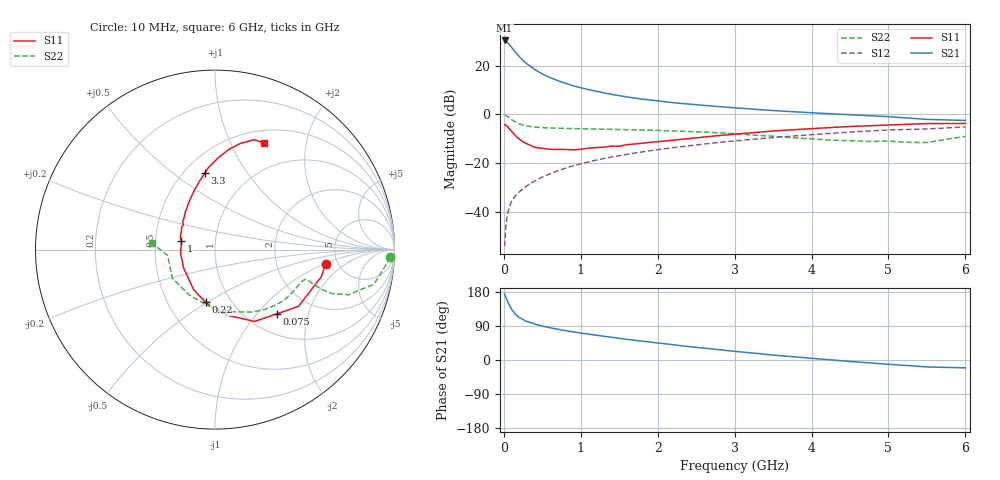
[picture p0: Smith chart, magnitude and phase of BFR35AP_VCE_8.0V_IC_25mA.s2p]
! Infineon Technologies  Discrete & RF Semiconductors
! BFR35AP
! VCE =  8.0 V,  IC =  25 mA
! Common Emitter S-Parameters:  Nov 2015
# GHz  S  MA  R  50
!  f  S11  S21  S12  S22
! GHz  MAG  ANG  MAG  ANG  MAG  ANG  MAG  ANG
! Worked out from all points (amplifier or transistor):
!   210 points, 10 MHz to 6 GHz, reference 50 ohm
!   highest |S21| = 30.3 dB at 10 MHz (marker M1)
!   |S21| within 3 dB of that: start of sweep to 105.8 MHz
!   unconditionally stable (mu >= 1): 388.6 MHz to 2.612 GHz
!   at 185 MHz: K = 0.75, MSG = 28.2 dB, |S12| = -32.2 dB
!   at 1.52 GHz: K = 1.09, MAG = 10.3 dB, |S12| = -16.7 dB
!   at 6 GHz: K = 0.90, MSG = 1.3 dB, |S12| = -5.1 dB
!   S11 on the Smith chart (normalised r, x): 10 MHz: 4.00, -1.01; 75 MHz: 1.34, -1.28; 220 MHz: 0.76, -0.49; 1 GHz: 0.68, +0.07; 3.3 GHz: 0.63, +0.66; 6 GHz: 0.65, +1.35
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0.01  0.6206 -7.2  32.8 173.8  0.002 83.7  0.9751 -2.5
0.02  0.6118 -14.2  32.28 168.1  0.0038 85.0  0.955 -5.3
0.05  0.5629 -34.2  29.89 152.9  0.0096 77.2  0.9061 -12.3
0.075  0.496 -46.3  26.5 144.4  0.013 72.5  0.8444 -15.3
0.1  0.4569 -61.2  23.86 133.7  0.0164 69.7  0.7854 -18.7
0.15  0.3675 -80.9  18.81 120.4  0.0215 66.5  0.6967 -20.6
0.2  0.3131 -95.7  15.27 112.1  0.0258 67.3  0.6405 -20.5
0.22  0.2958 -100.3  14.22 109.9  0.0275 67.5  0.6255 -20.3
0.26  0.2688 -110.1  12.32 105.2  0.031 67.9  0.5982 -19.8
0.3  0.2516 -118.6  10.84 101.4  0.0344 68.7  0.5794 -19.3
0.4  0.2127 -136.5  8.355 95.0  0.043 70.4  0.5524 -18.4
0.5  0.2024 -150.0  6.749 89.3  0.052 71.3  0.5364 -18.2
0.7  0.1922 -170.8  4.927 81.0  0.07 71.8  0.5211 -19.1
1  0.1933 166.1  3.517 71.1  0.0973 70.9  0.5094 -21.9
1.02  0.1954 165.0  3.458 70.6  0.0992 70.8  0.5086 -22.2
1.4  0.2241 146.2  2.575 60.0  0.1341 68.4  0.4963 -27.6
2.02  0.2784 124.4  1.872 44.5  0.1916 62.9  0.4706 -38.0
3.1  0.4059 100.6  1.328 21.0  0.2962 51.7  0.3924 -62.4
3.3  0.4316 97.4  1.262 17.2  0.3156 49.2  0.373 -68.5
4.1  0.5235 86.5  1.062 2.8  0.3949 39.5  0.3083 -100.0
5.1  0.6167 75.1  0.877 -12.6  0.4849 24.9  0.2774 -151.2
6  0.6531 65.2  0.753 -20.7  0.5534 13.7  0.3555 174.1
